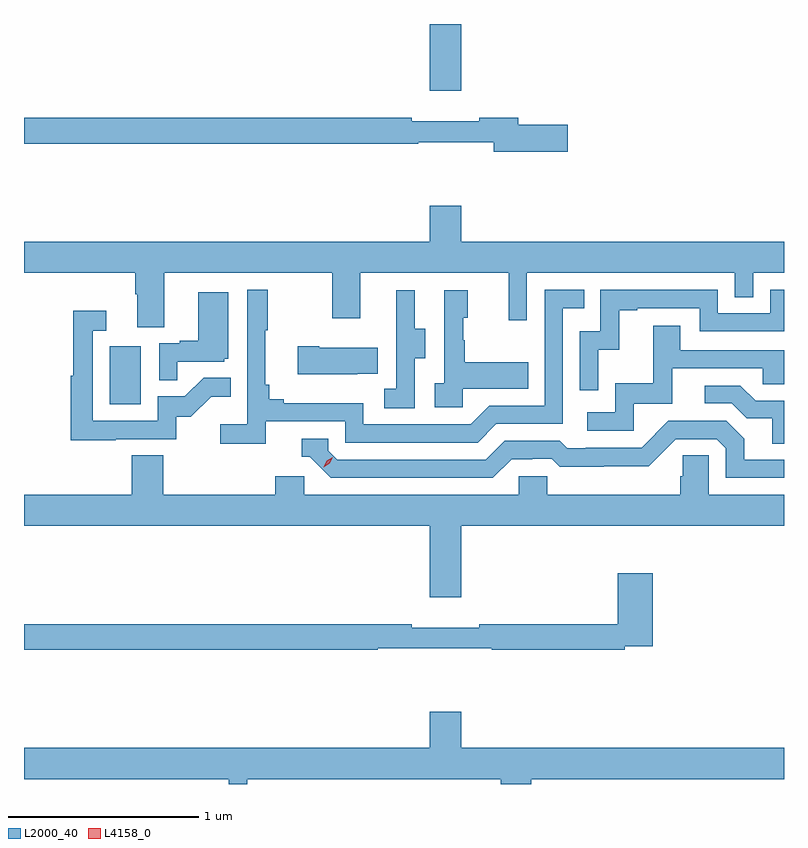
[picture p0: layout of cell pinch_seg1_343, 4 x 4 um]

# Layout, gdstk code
import gdstk
lib = gdstk.Library(unit=1e-6, precision=1e-09)
def R(c, l, rs):  # rectangles x0, y0, x1, y1
    for r in rs: c.add(gdstk.rectangle(r[:2], r[2:], *l))
def P(c, l, *ps):  # polygons
    for p in ps: c.add(gdstk.Polygon(p, *l))
L2000_40 = (2000, 40)
L4158_0 = (4158, 0)

pinch_seg1_343 = lib.new_cell('pinch_seg1_343')
R(pinch_seg1_343, L2000_40, [(990.494,560.364,990.658,560.671), (992.18,562.014,992.344,562.366)])
P(pinch_seg1_343, L2000_40, [(992.905,561.836),(992.644,561.836),(992.644,561.872),(992.44,561.872),(992.44,561.853),(992.084,561.853),(992.084,561.872),(990.044,561.872),(990.044,561.736),(992.12,561.736),(992.12,561.744),(992.516,561.744),(992.516,561.694),(992.905,561.694)],
  [(990.781,561.056),(991.666,561.056),(991.666,560.817),(991.813,560.817),(991.813,561.056),(992.594,561.056),(992.594,560.808),(992.691,560.808),(992.691,561.056),(993.786,561.056),(993.786,560.929),(993.882,560.929),(993.882,561.056),(994.044,561.056),(994.044,561.22),(992.344,561.22),(992.344,561.409),(992.18,561.409),(992.18,561.22),(990.044,561.22),(990.044,561.056),(990.629,561.056),(990.629,560.944),(990.641,560.944),(990.641,560.77),(990.781,560.77)],
  [(991.316,560.274),(991.734,560.274),(991.734,560.163),(992.431,560.163),(992.53,560.262),(992.88,560.262),(992.88,560.871),(992.993,560.871),(992.993,560.967),(992.784,560.967),(992.784,560.358),(992.493,560.358),(992.394,560.259),(991.83,560.259),(991.83,560.371),(991.411,560.371),(991.411,560.39),(991.334,560.39),(991.334,560.467),(991.315,560.467),(991.315,560.755),(991.327,560.755),(991.327,560.968),(991.218,560.968),(991.218,560.26),(991.077,560.26),(991.077,560.158),(991.316,560.158)],
  [(993.066,560.651),(993.176,560.651),(993.176,560.859),(993.271,560.859),(993.271,560.871),(993.6,560.871),(993.6,560.748),(994.044,560.748),(994.044,560.967),(993.972,560.967),(993.972,560.844),(993.696,560.844),(993.696,560.967),(993.078,560.967),(993.078,560.748),(992.97,560.748),(992.97,560.439),(993.066,560.439)],
  [(992.352,560.447),(992.699,560.447),(992.699,560.587),(992.365,560.587),(992.365,560.702),(992.355,560.702),(992.355,560.82),(992.38,560.82),(992.38,560.965),(992.256,560.965),(992.256,560.474),(992.205,560.474),(992.205,560.349),(992.352,560.349)],
  [(992.1,560.608),(992.155,560.608),(992.155,560.763),(992.101,560.763),(992.101,560.965),(992.003,560.965),(992.003,560.751),(992.004,560.751),(992.004,560.447),(991.941,560.447),(991.941,560.344),(992.1,560.344)],
  [(990.851,560.589),(991.098,560.589),(991.098,560.604),(991.12,560.604),(991.12,560.953),(990.962,560.953),(990.962,560.698),(990.863,560.698),(990.863,560.685),(990.756,560.685),(990.756,560.491),(990.851,560.491)],
  [(990.527,560.181),(990.846,560.181),(990.846,560.298),(990.922,560.298),(991.029,560.405),(991.133,560.405),(991.133,560.504),(990.989,560.504),(990.891,560.406),(990.747,560.406),(990.747,560.277),(990.405,560.277),(990.405,560.751),(990.478,560.751),(990.478,560.857),(990.304,560.857),(990.304,560.514),(990.289,560.514),(990.289,560.176),(990.527,560.176)],
  [(993.252,560.367),(993.457,560.367),(993.457,560.553),(993.931,560.553),(993.931,560.469),(994.044,560.469),(994.044,560.649),(993.499,560.649),(993.499,560.779),(993.355,560.779),(993.355,560.476),(993.156,560.476),(993.156,560.322),(993.009,560.322),(993.009,560.226),(993.252,560.226)],
  [(991.799,560.525),(991.907,560.525),(991.907,560.662),(991.597,560.662),(991.597,560.67),(991.485,560.67),(991.485,560.522),(991.799,560.522)],
  [(994.044,560.382),(993.895,560.382),(993.814,560.463),(993.627,560.463),(993.627,560.37),(993.768,560.37),(993.848,560.29),(993.983,560.29),(993.983,560.158),(994.044,560.158)],
  [(992.611,560.076),(992.718,560.076),(992.718,560.079),(992.821,560.079),(992.863,560.037),(993.096,560.037),(993.096,560.039),(993.332,560.039),(993.474,560.181),(993.69,560.181),(993.738,560.133),(993.738,559.977),(994.044,559.977),(994.044,560.073),(993.835,560.073),(993.835,560.183),(993.741,560.277),(993.435,560.277),(993.294,560.136),(993.001,560.136),(993.001,560.133),(992.902,560.133),(992.863,560.172),(992.574,560.172),(992.475,560.073),(991.692,560.073),(991.644,560.121),(991.644,560.184),(991.505,560.184),(991.505,560.088),(991.548,560.088),(991.659,559.977),(992.512,559.977)],
  [(992.344,559.724),(994.044,559.724),(994.044,559.888),(993.648,559.888),(993.648,560.096),(993.511,560.096),(993.511,559.986),(993.497,559.986),(993.497,559.888),(992.799,559.888),(992.799,559.986),(992.649,559.986),(992.649,559.888),(991.518,559.888),(991.518,559.986),(991.367,559.986),(991.367,559.888),(990.776,559.888),(990.776,560.096),(990.611,560.096),(990.611,559.888),(990.044,559.888),(990.044,559.724),(992.18,559.724),(992.18,559.35),(992.344,559.35)],
  [(991.906,559.08),(992.506,559.08),(992.506,559.072),(993.206,559.072),(993.206,559.092),(993.353,559.092),(993.353,559.474),(993.17,559.474),(993.17,559.208),(992.44,559.208),(992.44,559.189),(992.084,559.189),(992.084,559.208),(990.044,559.208),(990.044,559.072),(991.906,559.072)],
  [(991.218,558.392),(992.554,558.392),(992.554,558.366),(992.714,558.366),(992.714,558.392),(994.044,558.392),(994.044,558.556),(992.344,558.556),(992.344,558.745),(992.18,558.745),(992.18,558.556),(990.044,558.556),(990.044,558.392),(991.122,558.392),(991.122,558.366),(991.218,558.366)])
P(pinch_seg1_343, L4158_0, [(991.622,560.034),(991.622,560.034),(991.637,560.067),(991.668,560.087),(991.668,560.087),(991.668,560.087),(991.653,560.054),(991.622,560.034)])

lib.write_gds('pinch_seg1_343.gds')
